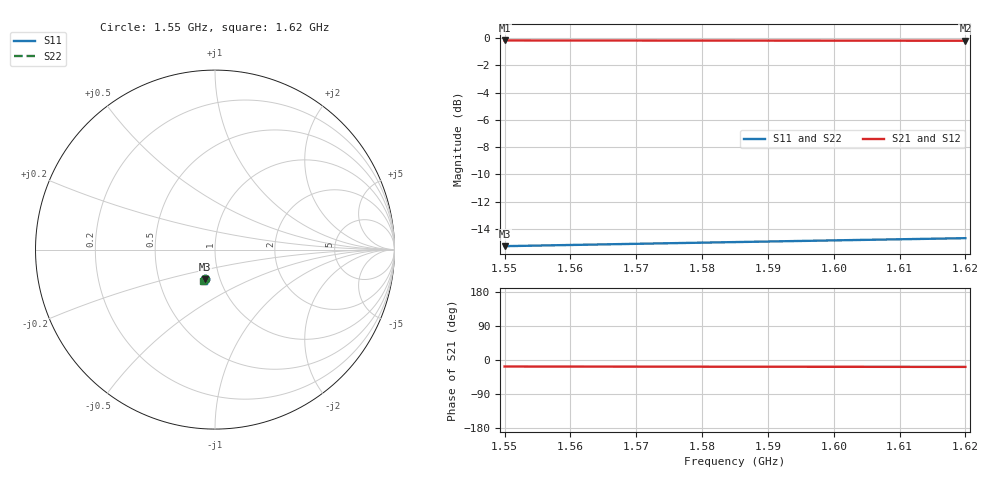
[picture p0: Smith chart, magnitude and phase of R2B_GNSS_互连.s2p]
! GNSS exact Gerber PCB interconnect. Qualified only 1.55-1.62 GHz.
! Ports: J3.1 land and U3.11 land to reference plane; external antenna, connector internals and module RF internals excluded.
# Hz S RI R 50
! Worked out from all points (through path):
!   71 points, 1.55 GHz to 1.62 GHz, reference 50 ohm
!   highest |S21| = -0.18 dB at 1.55 GHz (marker M1); lowest = -0.2 dB at 1.62 GHz (marker M2)
!   group delay of S21, straight-line fit = 41 ps
!   lowest |S11| = -15.3 dB at 1.55 GHz (marker M3), VSWR 1.42, Z = 42.6 - j14.3 ohm
!   |S11| at or under -10 dB: start of sweep to end of sweep
!   |S22| runs from -15.3 to -14.7 dB; largest |S21 - S12| = 2.7e-06
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1.55e9  -0.0549 -0.1635  0.9358 -0.2896  0.9358 -0.2896  -0.0573 -0.1625
1.553e9  -0.0552 -0.164  0.9355 -0.2903  0.9355 -0.2903  -0.0576 -0.163
1.556e9  -0.0554 -0.1644  0.9352 -0.291  0.9352 -0.291  -0.0579 -0.1634
1.559e9  -0.0557 -0.1649  0.9349 -0.2917  0.9349 -0.2917  -0.0582 -0.1639
1.562e9  -0.056 -0.1653  0.9346 -0.2924  0.9346 -0.2924  -0.0585 -0.1643
1.565e9  -0.0562 -0.1658  0.9342 -0.2931  0.9343 -0.2931  -0.0588 -0.1648
1.568e9  -0.0565 -0.1663  0.9339 -0.2938  0.9339 -0.2938  -0.0591 -0.1652
1.571e9  -0.0568 -0.1667  0.9336 -0.2945  0.9336 -0.2945  -0.0594 -0.1657
1.574e9  -0.0571 -0.1672  0.9333 -0.2952  0.9333 -0.2952  -0.0597 -0.1661
1.579e9  -0.0575 -0.1679  0.9328 -0.2964  0.9328 -0.2964  -0.0602 -0.1669
1.582e9  -0.0578 -0.1684  0.9325 -0.2971  0.9325 -0.2971  -0.0605 -0.1673
1.585e9  -0.0581 -0.1688  0.9321 -0.2978  0.9321 -0.2978  -0.0608 -0.1677
1.588e9  -0.0583 -0.1693  0.9318 -0.2984  0.9318 -0.2984  -0.0611 -0.1682
1.591e9  -0.0586 -0.1697  0.9315 -0.2991  0.9315 -0.2991  -0.0614 -0.1686
1.594e9  -0.0589 -0.1702  0.9312 -0.2998  0.9312 -0.2998  -0.0617 -0.1691
1.597e9  -0.0591 -0.1706  0.9309 -0.3005  0.9309 -0.3005  -0.062 -0.1695
1.6e9  -0.0594 -0.1711  0.9305 -0.3012  0.9305 -0.3012  -0.0623 -0.1699
1.603e9  -0.0597 -0.1715  0.9302 -0.3019  0.9302 -0.3019  -0.0626 -0.1704
1.606e9  -0.06 -0.172  0.9299 -0.3026  0.9299 -0.3026  -0.0629 -0.1708
1.609e9  -0.0602 -0.1724  0.9296 -0.3033  0.9296 -0.3033  -0.0632 -0.1712
1.614e9  -0.0607 -0.1732  0.929 -0.3044  0.929 -0.3044  -0.0637 -0.1719
1.62e9  -0.0613 -0.174  0.9284 -0.3058  0.9284 -0.3058  -0.0644 -0.1728
